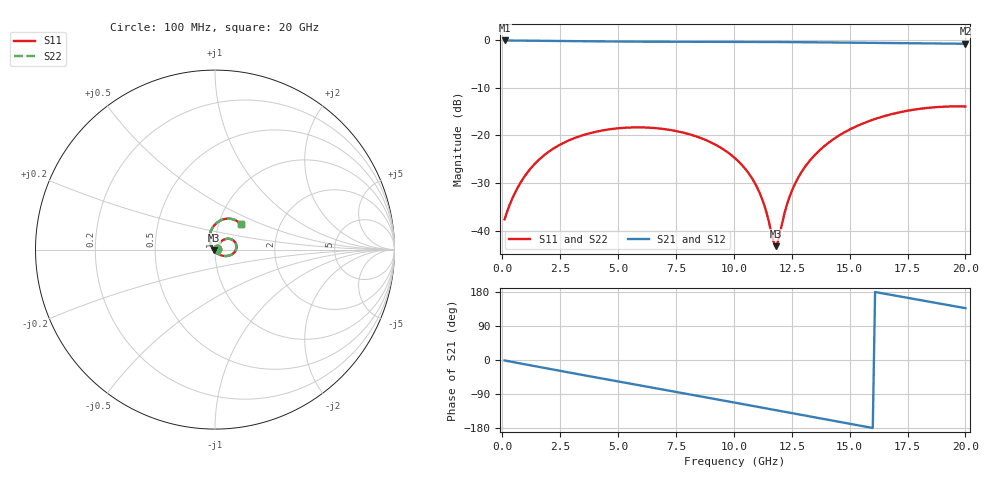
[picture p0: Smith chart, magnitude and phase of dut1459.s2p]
! Touchstone file exported from HFSS 2026.1.0
!  File:  C:/ffzhzh/LocalFiles/Ansys_Project_Files/temp_train_TSV_RDL_1459_1783360134_50076.aedt
!  Generated:  01:55:13 AM Jul  7, 2026
!  Design:  TSV_RDL
!  Project:  temp_train_TSV_RDL_1459_1783360134_50076
! Variables:
!  h_bsmrdl = 5.92um
!  h_ox = 20um
!  h_rdl = 5um
!  h_sub = 70.61um
!  h_tmrdl = 5.5um
!  h_tsv = 70.61um
!  h_via = 3um
!  l_bsmrdl = 318.19um
!  l_sub = 3240.94um
!  l_tmrdl = 447.66um
!  m_sub = 200um
!  pitch = 30.02um
!  r_tsv = 13.41um
!  s_tmrdl = 10um
!  w_bsmrdl = 17.21um
!  w_sub = 500um
!  w_tmrdl = 14.7um
!  x_tsv_center1 = 455.01um
!  x_tsv_center2 = 790.41um
!  x_tsv_center3 = 1252.77um
!  x_tsv_center4 = 1588.17um
!  x_tsv_center5 = 2050.53um
!  x_tsv_center6 = 2385.93um
# GHz S MA R 50.000000
! Terminal data exported
! Port[1] = TM_RDL1_1_T1
! Port[2] = TM_RDL5_1_T1
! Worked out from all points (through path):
!   200 points, 100 MHz to 20 GHz, reference 50 ohm
!   highest |S21| = -0.11 dB at 100 MHz (marker M1); lowest = -0.8 dB at 20 GHz (marker M2)
!   group delay of S21, straight-line fit = 31 ps
!   lowest |S11| = -43.2 dB at 11.8 GHz (marker M3), VSWR 1.01, Z = 49.5 - j0.468 ohm
!   |S11| at or under -10 dB: start of sweep to end of sweep
!   |S22| runs from -43.0 to -13.9 dB; largest |S21 - S12| = 4e-14
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0.1  0.0132 18.8  0.9876 -1.2  0.9876 -1.2  0.0132 18.8
! Gamma 0 0 0 0
! Port Impedance 50 0 50 0
0.7  0.02931 50.4  0.9836 -8.2  0.9836 -8.2  0.02931 50.4
1.4  0.05023 53.7  0.9807 -16.2  0.9807 -16.2  0.05023 53.7
2.3  0.07511 47.9  0.9763 -26.4  0.9763 -26.4  0.07511 47.9
3.5  0.1008 36.4  0.9696 -39.9  0.9696 -39.9  0.1008 36.4
5.2  0.1198 18.8  0.9618 -58.8  0.9618 -58.8  0.1198 18.7
6.8  0.1179 1.6  0.9577 -76.4  0.9577 -76.4  0.1179 1.5
8.7  0.09119 -19.8  0.9558 -97.5  0.9558 -97.5  0.09118 -19.9
10.1  0.05627 -37.7  0.9546 -113.1  0.9546 -113.1  0.05626 -37.8
10.7  0.03818 -47.6  0.9538 -119.9  0.9538 -119.9  0.03818 -47.8
11.1  0.02544 -57.3  0.9531 -124.4  0.9531 -124.4  0.02545 -57.7
11.4  0.01588 -70.6  0.9524 -127.8  0.9524 -127.8  0.01592 -71.2
11.8  0.006904 -136.8  0.9514 -132.3  0.9514 -132.3  0.007081 -137.2
11.9  0.007635 -165.7  0.9511 -133.4  0.9511 -133.4  0.007813 -165.4
12.2  0.01569 152.4  0.9501 -136.8  0.9501 -136.8  0.01581 153.0
12.5  0.02599 138.5  0.949 -140.2  0.949 -140.2  0.02608 138.8
12.9  0.04041 128.5  0.9474 -144.7  0.9474 -144.7  0.04048 128.7
13.4  0.0587 119.9  0.9451 -150.4  0.9451 -150.4  0.05877 120.1
14.8  0.1084 101.5  0.9372 -166.1  0.9372 -166.1  0.1085 101.6
16.7  0.1642 79.7  0.9254 172.8  0.9254 172.8  0.1642 79.8
18.3  0.1933 62.3  0.9174 155.3  0.9174 155.3  0.1933 62.4
20  0.2006 44.2  0.9135 136.8  0.9135 136.8  0.2006 44.3
